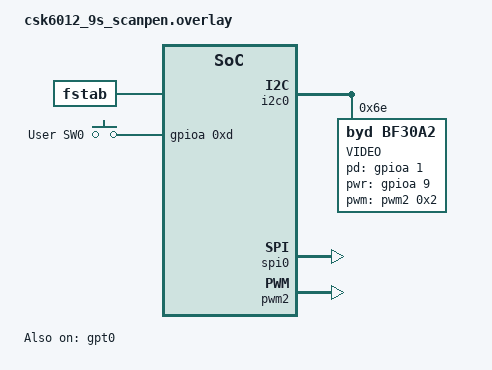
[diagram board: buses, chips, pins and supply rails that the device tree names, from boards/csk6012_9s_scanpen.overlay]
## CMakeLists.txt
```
cmake_minimum_required(VERSION 3.20.0)
# Copyright (c) 2018 Nordic Semiconductor ASA
# Copyright (c) 2019 Linaro Limited
#
# SPDX-License-Identifier: Apache-2.0
#
#set(ZEPHYR_EXTRA_MODULES $ENV{ZEPHYR_BASE}/../modules/lib/sof_host)

if("${BOARD}" STREQUAL "csk6012_9s_scanpen")
  set(BUILD_DSP_FIRMWARE OFF)
  find_package(Zephyr REQUIRED HINTS $ENV{ZEPHYR_BASE})
  message(INFO " ${BOARD} compile as Master in this sample")
  target_sources(app PRIVATE src/main.c)
  add_subdirectory(./src)
  add_subdirectory(lisa_os)
  add_subdirectory(lisa_net)
  add_subdirectory(lisa_hal)
  add_subdirectory(unit_test)
  add_subdirectory(scanpen_sdk)
  add_subdirectory(scanpen_app)
endif()


if(BUILD_DSP_FIRMWARE)

  set(REMOTE_ZEPHYR_DIR ${CMAKE_CURRENT_BINARY_DIR}/sof-dsp-prefix/src/sof-dsp-build/zephyr)

  if("${BOARD}" STREQUAL "csk6002_c3_nano")
    set(BOARD_REMOTE "ls_adsp_csk6")
  else()
    message(FATAL_ERROR "${BOARD} was not supported for this sample")
  endif()

  project(sof-dsp)

  enable_language(C ASM)

  #target_sources(app PRIVATE src/load_fw.c src/mem_image_store.c src/platform_info.c src/zynqmp_csk6001_rproc_example.c )

  include(ExternalProject)

  set(ENV{XCC_USE_CLANG} "1")
  set(ENV{ZEPHYR_TOOLCHAIN_VARIANT} "xcc")

  ExternalProject_Add(
    sof_remote
    SOURCE_DIR ${APPLICATION_SOURCE_DIR}/remote
    INSTALL_COMMAND ""      # This particular build system has no install command
    CMAKE_CACHE_ARGS -DBOARD:STRING=${BOARD_REMOTE}
    BUILD_BYPRODUCTS "${REMOTE_ZEPHYR_DIR}/${KERNEL_BIN_NAME}"
    # NB: Do we need to pass on more CMake variables?
    BUILD_ALWAYS True
  )

  unset(ENV{XCC_USE_CLANG})
  unset(ENV{ZEPHYR_TOOLCHAIN_VARIANT})
  target_include_directories(app PRIVATE ${CMAKE_CURRENT_SOURCE_DIR} ./src) 

endif()
```

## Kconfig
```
# Private config options for load sencond core firmware app

# SPDX-License-Identifier: Apache-2.0

# Workaround for not being able to have commas in macro arguments

DT_CHOSEN_Z_FLASH_SYSFS_STORAGE := zephyr,flash_sysfs_storage
DT_CHOSEN_Z_FLASH_CONTROLLER := zephyr,flash_controller
DT_CHOSEN_Z_INN_FLASH := zephyr,flash
DT_CHOSEN_Z_IPC_SHM := zephyr,ipc_shm

if USB_MASS_STORAGE

	config DISK_FLASH_START
		default "$(dt_chosen_reg_addr_hex,$(DT_CHOSEN_Z_FLASH_SYSFS_STORAGE))"

	config DISK_FLASH_DEV_NAME
		default "$(dt_chosen_label,$(DT_CHOSEN_Z_FLASH_CONTROLLER))"

	config DISK_VOLUME_SIZE
		default "$(dt_chosen_reg_size_hex,$(DT_CHOSEN_Z_FLASH_SYSFS_STORAGE))"


	config DISK_FLASH_MAX_RW_SIZE
		default 4096
		#default $(dt_node_int_prop_hex,$(DT_CHOSEN_Z_INN_FLASH),erase-block-size)

	config DISK_FLASH_ERASE_ALIGNMENT
		default 0x1000
		#default "$(dt_node_int_prop_hex,$(DT_CHOSEN_Z_INN_FLASH),erase-block-size)"

	config DISK_ERASE_BLOCK_SIZE
		default 0x1000
		#default "$(dt_node_int_prop_hex,$(DT_CHOSEN_Z_INN_FLASH),erase-block-size)"
endif


#SOF IPC MEMORY CONFIG
config SOF_IPC_SHM_BASE_ADDRESS
	default "$(dt_chosen_reg_addr_hex,$(DT_CHOSEN_Z_IPC_SHM))"

config SOF_IPC_SHM_SIZE
	default "$(dt_chosen_reg_size_hex,$(DT_CHOSEN_Z_IPC_SHM))"
	help
	  This option specifies size of the memory region to be used
	  for the SOF IPC shared memory

menu "Example Configuration"

    config EXAMPLE_WIFI_SSID
        string "WiFi SSID"
        default "ifly os"

    config EXAMPLE_WIFI_PASSWORD
        string "WiFi password"
        default "ifly951ifly"

endmenu

DT_CHOSEN_Z_LISA_HEAP := zephyr,lisa_heap

config LISA_HEAP_BASE_ADDRESS
	hex
	default "$(dt_chosen_reg_addr_hex,$(DT_CHOSEN_Z_LISA_HEAP))"
	help
	  This option specifies base address of the memory region to
	  be used for the lisa heap memory

config LISA_HEAP_SIZE
	hex
	default "$(dt_chosen_reg_size_hex,$(DT_CHOSEN_Z_LISA_HEAP))"
	help
	  This option specifies size of the memory region to be used
	  for the lisa heap memory

source "Kconfig.zephyr"
```

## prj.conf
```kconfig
CONFIG_PRINTK=y
#CONFIG_DEBUG=y
CONFIG_LOG=y
CONFIG_LOG_MODE_IMMEDIATE=y
CONFIG_LOG_BUFFER_SIZE=1024
# CONFIG_LOG_STRDUP_MAX_STRING=128
# CONFIG_LOG_STRDUP_BUF_COUNT=64
CONFIG_LOG_DETECT_MISSED_STRDUP=n
CONFIG_LOG_BACKEND_SHOW_COLOR=y
CONFIG_LOG_BACKEND_FORMAT_TIMESTAMP=y
CONFIG_LOG_BACKEND_UART=y
CONFIG_LOG_BACKEND_UART_OUTPUT_TEXT=y
CONFIG_GPIO=y
CONFIG_MAIN_STACK_SIZE=4096
CONFIG_HEAP_MEM_POOL_SIZE=70000

#libc配置
CONFIG_NEWLIB_LIBC_FLOAT_PRINTF=y
CONFIG_NEWLIB_LIBC=y
CONFIG_NEWLIB_LIBC_FLOAT_SCANF=y

#psram init 
CONFIG_CSK6_PSRAM=y
CONFIG_TEST_RANDOM_GENERATOR=y

#file system
CONFIG_DISK_DRIVER_FLASH=y
CONFIG_FLASH=y
CONFIG_FLASH_MAP=y
CONFIG_FILE_SYSTEM=y
CONFIG_FS_FATFS_CODEPAGE=936
CONFIG_FS_FATFS_LFN=y
CONFIG_FS_FATFS_MAX_LFN=255
CONFIG_FS_FATFS_LFN_MODE_BSS=y


#usb mass storage
#CONFIG_USB_DEVICE_STACK=y
#CONFIG_USB_DEVICE_PRODUCT="Zephyr DFU sample"
#CONFIG_USB_MASS_STORAGE=y
#CONFIG_MASS_STORAGE_STACK_SIZE=4096
CONFIG_SYSTEM_WORKQUEUE_STACK_SIZE=4096


#CONFIG_USB_DRIVER_LOG_LEVEL_ERR=y
#CONFIG_USB_DEVICE_LOG_LEVEL_ERR=y
#CONFIG_USB_MASS_STORAGE_LOG_LEVEL_ERR=y
#CONFIG_USB_DRIVER_LOG_LEVEL_ERR=y

#usb cdc
#CONFIG_UART_LINE_CTRL=y
#CONFIG_USB_CDC_ACM_RINGBUF_SIZE=4096
#CONFIG_USB_CDC_ACM_LOG_LEVEL_ERR=y


#CONFIG_BOOTLOADER_MCUBOOT=y



#sof
CONFIG_SOF_HOST=y
CONFIG_AVF_DEBUG_LEVEL=3
#CONFIG_AVF_USE_FS_FATFS=y
#CONFIG_FAT_FILESYSTEM_ELM=y
CONFIG_AVF_USE_FS_LITTLEFS=y
CONFIG_FILE_SYSTEM_LITTLEFS=y
CONFIG_POSIX_MAX_FDS=16

#IPM
CONFIG_IPM=y

#shell
CONFIG_SHELL_ARGC_MAX=16
CONFIG_SHELL=y
CONFIG_SHELL_STACK_SIZE=4096

#network-driver
CONFIG_SPI=y
#network-wifi
CONFIG_WIFI=y
CONFIG_CSK_WIFI_STATION=y
CONFIG_NET_L2_ETHERNET=y
CONFIG_NETWORKING=y
CONFIG_NET_DHCPV4=y
CONFIG_NET_IPV4=y
CONFIG_NET_TCP=y
CONFIG_NET_SOCKETS=y
CONFIG_NET_SOCKETS_CONNECT_TIMEOUT=3000
CONFIG_NET_SOCKETS_POSIX_NAMES=y
CONFIG_NET_MGMT=y
CONFIG_NET_MGMT_EVENT=y
CONFIG_NET_MGMT_EVENT_STACK_SIZE=4096
CONFIG_NET_TCP_WORKQ_STACK_SIZE=2048
CONFIG_NET_RX_STACK_SIZE=2048
CONFIG_NET_TX_STACK_SIZE=2048    
CONFIG_NET_PKT_RX_COUNT=16
CONFIG_NET_PKT_TX_COUNT=16
CONFIG_NET_BUF_RX_COUNT=32
CONFIG_NET_BUF_TX_COUNT=32
CONFIG_NET_CONTEXT_NET_PKT_POOL=y

CONFIG_DNS_RESOLVER=y
CONFIG_DNS_SERVER_IP_ADDRESSES=y
CONFIG_DNS_SERVER1="8.8.8.8"

CONFIG_SYSTEM_WORKQUEUE_PRIORITY=-1
CONFIG_INIT_STACKS=y

# Network debug config
# CONFIG_NET_LOG=y

# HTTP & Websocket
CONFIG_HTTP_CLIENT=y
CONFIG_WEBSOCKET_CLIENT=n

# TLS configuration
CONFIG_MBEDTLS=y
CONFIG_MBEDTLS_BUILTIN=y
CONFIG_MBEDTLS_ENABLE_HEAP=y
CONFIG_MBEDTLS_HEAP_SIZE=10240
CONFIG_MBEDTLS_SSL_MAX_CONTENT_LEN=2048

# to enable TLS
CONFIG_NET_SOCKETS_SOCKOPT_TLS=y
CONFIG_NET_SOCKETS_TLS_MAX_CONTEXTS=10

# ListenAI moudle support
# zephyr System abstraction layer for other rtos, like freertos
CONFIG_ZPORT_SAL=y
# sal port to esp
CONFIG_ZPORT_ESP_TCP=y
CONFIG_ZPORT_ESP_HTTP=y
CONFIG_ZPORT_ESP_WS=y
CONFIG_ZPORT_ESP_ADF=y
# esp http & websocket
CONFIG_ZE_TCP_TRANSPORT=y
CONFIG_ZE_TCP_TRANSPORT_ENABLE_SSL=y
CONFIG_ZE_HTTP_CLIENT=y
CONFIG_ZE_HTTP_CLIENT_ENABLE_HTTPS=y
CONFIG_ZE_WEBSOCKET_CLIENT=y
CONFIG_BASE64=y
# esp adf - pipeline
CONFIG_ZE_ADF=y
CONFIG_ZE_ADF_HTTP_STREAM_ENABLE=y
CONFIG_ZE_ADF_FS_STREAM_ENABLE=y
CONFIG_ZE_ADF_MEMORY_STREAM_ENABLE=y
CONFIG_ZE_ADF_AVF_STREAM_ENABLE=y
# lisa player
CONFIG_LISA_PLAYER=y
CONFIG_LISA_PLAYER_AUDIO_STRCASECMP_ENABLE=y

# Custom config for example
#CONFIG_LISA_PLAYER_SHELL_ENABLE=y
#CONFIG_LISA_PLAYER_SHELL_DEFINE_FILE="/NAND:/{{YOUR_FILE_NAME}}.wav"
# setup local http_server in ./temp/ folder:
# Linux: export LISA_ZEP_EXEC=1 && lisa zep exec python -m http.server 8080
# Windows: set LISA_ZEP_EXEC=1 && lisa zep exec python -m http.server 8080
# 打开 http://127.0.0.1:8080
CONFIG_LISA_PLAYER_SHELL_DEFINE_URL="http://{{YOUR_PC_IP}}:8080/fdf7ea5d44626d0319e2fac116019d4af.wav"

# config wifi
CONFIG_EXAMPLE_WIFI_SSID="kawangka"
# CONFIG_EXAMPLE_WIFI_SSID="iflytek-yycs"
CONFIG_EXAMPLE_WIFI_PASSWORD="1q2w3e4r"
# CONFIG_EXAMPLE_WIFI_PASSWORD="iflytekyuyin"

# Enable Testing

# shell: ze_http_client test_start
CONFIG_ZE_HTTP_CLIENT_TEST_SHELL=y

# shell: ze_websocket_client test_start
CONFIG_ZE_WEBSOCKET_CLIENT_TEST_SHELL=y
# websocket server test paltform: http://www.easyswoole.com/wstool.html
CONFIG_ZE_WEBSOCKET_CLIENT_TEST_URI="ws://82.157.123.54:9010/ajaxchattest"


#cache
CONFIG_CACHE_MANAGEMENT=y

# video
CONFIG_I2C=y
CONFIG_DMA=y
CONFIG_PWM=y
CONFIG_VIDEO=y
CONFIG_VIDEO_BF30A2=y

#CONFIG_MINIMAL_LIBC_RAND=y

CONFIG_KERNEL_MEM_POOL=y
CONFIG_STDOUT_CONSOLE=n

CONFIG_SPI_SLAVE=y
CONFIG_SPI_RX_DMA=y

CONFIG_VIDEO_BUFFER_POOL_SZ_MAX=30720
CONFIG_UART_INTERRUPT_DRIVEN=y

#CONFIG_THREAD_ANALYZER=y
#CONFIG_THREAD_ANALYZER_USE_PRINTK=y
#CONFIG_THREAD_ANALYZER_AUTO=y
#CONFIG_THREAD_ANALYZER_AUTO_INTERVAL=5
#CONFIG_THREAD_RUNTIME_STATS=y
#CONFIG_THREAD_NAME=y
```

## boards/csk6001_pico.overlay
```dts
/*
 * Copyright (c) 2021 listenai Intelligent Technology (anhui) Co., Ltd.
 *
 * SPDX-License-Identifier: Apache-2.0
 */
/delete-node/ &storage_partition;

/ {
	chosen {
		/*
		 * shared memory reserved for the inter-processor communication
		 */
		zephyr,ipc_shm = &sramx1;
		zephyr,ipc = &mailbox0;
		zephyr,flash_sysfs_storage = &filesystem_part;
		zephyr,flash_controller = &flash;
	};
	sramx1:memory@30400000{
		compatible = "mmio-sram";
		reg = <0x30400000 0x100000>;
	};
	fstab {
		compatible = "zephyr,fstab";
		lfs1: lfs1 {
			compatible = "zephyr,fstab,littlefs";
			mount-point = "/lfs1";
			partition = <&filesystem_part>;
			automount ;
			no-format;
			read-size = <16>;
			prog-size = <16>;
			cache-size = <64>;
			lookahead-size = <32>;
			block-cycles = <512>;
		};
	};

};

 / {
	chosen {
		/*
		 * shared memory reserved for the inter-processor communication
		 */
		zephyr,lisa_heap = &psram_region1;
	};
	psram_region1:memory@30500000{
		compatible = "mmio-sram";
		reg = <0x30500000 0x300000>;
	};


};
 
&flash0 {
	partitions {
		compatible = "fixed-partitions";
		#address-cells = <1>;
		#size-cells = <1>;
		filesystem_part: partition@160000 {
			label = "filesystem";
			reg = <0x160000 0x00600000>;
		};
		/*
		 * Reserve the final 640 KiB for file system partition
		 */
		storage_partition: partition@760000 {
			label = "storage";
			reg = <0x760000 0x00a0000>;
		};


	};
};
```

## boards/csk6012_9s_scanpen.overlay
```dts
/ {
        aliases {
                sw0 = &user_button_0;
                i2c-0 = &i2c0;
                i2c-1 = &i2c1;
                c-led = &camleds1;
        };
        chosen {
		/*
		 * shared memory reserved for the inter-processor communication
		 */
		zephyr,ipc_shm = &sof_partition;
		zephyr,ipc = &mailbox0;
		#zephyr,uart-mcumgr = &uart0;
                zephyr,flash_sysfs_storage = &filesystem_part;
                zephyr,code-partition = &slot0_partition;
                zephyr,lisa_heap = &psram_region1;
	};

        fstab {
		compatible = "zephyr,fstab";
		lfs1: lfs1 {
			compatible = "zephyr,fstab,littlefs";
			mount-point = "/lfs1";
			partition = <&filesystem_part>;
			automount ;
			no-format;
			read-size = <16>;
			prog-size = <16>;
			cache-size = <64>;
			lookahead-size = <32>;
			block-cycles = <512>;
		};
	};

	gpio_keys {
                user_button_0: button_0 {
                        label = "User SW0";
                        gpios = < &gpioa 0xd 0x0 >;
                };
	};


};

&i2c0 {
        status = "okay";
        pinctrl-0 = <&pinctrl_i2c0_scl_default &pinctrl_i2c0_sda_default>; 
        pinctrl-names = "default";

        bf30a2: bf30a2@6e {
            compatible = "byd,bf30a2";
            status = "okay";
            label = "VIDEO";
            reg = <0x6e>;
            pd-gpios = <&gpioa 1 0>;
            pwr-gpios = <&gpioa 9 0>;
            product-id = <0x3b02>;
            spi = <&spi0>;
            pwms = <&pwm2 0x2 0x0>;
            xclk-freq = <12500>;
            csk6-spec;
        };
};

&spi0 {
    status = "okay";
    spi-max-frequency = <25000000>;
};


&gpt0 {
	status = "okay";

	pwm2: pwm2 {
        clock-prescaler = <1>;
        status = "okay";
        pinctrl-0 = <&pinctrl_pwm2_default>; 
        pinctrl-names = "default";
    };
};

&flash0 {
	partitions {
		compatible = "fixed-partitions";
		#address-cells = <1>;
		#size-cells = <1>;

                /* 256KB for bootloader */
                boot_partition: partition@0 {
                        label = "mcuboot";
                        reg = <0x0 0x40000>;
                        read-only;
                };

                /* application image slot: 1024KB */
                slot0_partition: partition@40000 {
                        label = "image-0";
                        reg = <0x40000 0x100000>;
                };

                /* backup slot: 1024KB */
                slot1_partition: partition@140000 {
                        label = "image-1";
                        reg = <0x140000 0x100000>;
                };

                /* swap slot: 128KB */
                scratch_partition: partition@240000 {
                        label = "image-scratch";
                        reg = <0x240000 0x20000>;
                };

                /* wifi_nvs_storage: 20Kb */
                wifi_nvs_storage: partition@260000 {
                        label = "wifi_nvs_storage";
                        reg = <0x260000 0x5000>;
                };

                /* storage: 6.625MB for storage */
                filesystem_part: partition@265000 {
                        label = "storage";
                        reg = <0x265000 0x59b000>;
                };

	};
};
```

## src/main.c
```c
/*
 *
 * SPDX-License-Identifier: Apache-2.0
 */
#include <zephyr.h>
#include <device.h>
#include <devicetree.h>

#include "lisa_buttons.h"

extern void s_fs_mount(void);
extern void mcumgr_domain();
extern void sof_domain(void);
extern void network_domain(void);

void main(void)
{
	printk("lisa porting test on %s !\n", CONFIG_BOARD);
	s_fs_mount();

#ifdef CONFIG_WIFI
	network_domain();
#endif

	k_msleep(5000);
	sof_domain();

#ifdef CONFIG_MCUMGR
	mcumgr_domain();
#endif

	k_msleep(10000);
	start_scanpen_app();
	while (1) {
		//printk("the main task is running!!\n");
		k_msleep(1000);
	}
}
```

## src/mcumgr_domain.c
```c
#include <zephyr.h>
#include <stats/stats.h>

#ifdef CONFIG_MCUMGR_CMD_OS_MGMT
#include "os_mgmt/os_mgmt.h"
#endif
#ifdef CONFIG_MCUMGR_CMD_IMG_MGMT
#include "img_mgmt/img_mgmt.h"
#endif
#ifdef CONFIG_MCUMGR_CMD_STAT_MGMT
#include "stat_mgmt/stat_mgmt.h"
#endif
#ifdef CONFIG_MCUMGR_CMD_SHELL_MGMT
#include "shell_mgmt/shell_mgmt.h"
#endif
#if defined(CONFIG_MCUMGR_CMD_FS_MGMT) && (defined(CONFIG_AVF_USE_FS_FATFS) || defined(CONFIG_AVF_USE_FS_LITTLEFS))
#include "fs_mgmt/fs_mgmt.h"
#endif


#define LOG_LEVEL LOG_LEVEL_DBG
#include <logging/log.h>
LOG_MODULE_REGISTER(smp_sample);

/* Define an example stats group; approximates seconds since boot. */
STATS_SECT_START(smp_svr_stats)
STATS_SECT_ENTRY(ticks)
STATS_SECT_END;

/* Assign a name to the `ticks` stat. */
STATS_NAME_START(smp_svr_stats)
STATS_NAME(smp_svr_stats, ticks)
STATS_NAME_END(smp_svr_stats);

/* Define an instance of the stats group. */
STATS_SECT_DECL(smp_svr_stats) smp_svr_stats;

void mcumgr_domain_task(void *arg1, void *arg2, void *arg3)
{
	int rc = STATS_INIT_AND_REG(smp_svr_stats, STATS_SIZE_32,
				    "smp_svr_stats");
	if (rc < 0) {
		LOG_ERR("Error initializing stats system [%d]", rc);
	}

	/* Register the built-in mcumgr command handlers. */
#ifdef CONFIG_MCUMGR_CMD_FS_MGMT
	fs_mgmt_register_group();
#endif
#ifdef CONFIG_MCUMGR_CMD_OS_MGMT
	os_mgmt_register_group();
#endif
#ifdef CONFIG_MCUMGR_CMD_IMG_MGMT
	img_mgmt_register_group();
#endif
#ifdef CONFIG_MCUMGR_CMD_STAT_MGMT
	stat_mgmt_register_group();
#endif
#ifdef CONFIG_MCUMGR_CMD_SHELL_MGMT
	shell_mgmt_register_group();
#endif
#ifdef CONFIG_MCUMGR_CMD_FS_MGMT
	fs_mgmt_register_group();
#endif
#ifdef CONFIG_MCUMGR_SMP_BT
	start_smp_bluetooth();
#endif
#ifdef CONFIG_MCUMGR_SMP_UDP
#include "common.h"
	start_smp_udp();
#endif
	/* using __TIME__ ensure that a new binary will be built on every
	 * compile which is convient when testing firmware upgrade.
	 */
	LOG_INF("build time: " __DATE__ " " __TIME__);

	/* The system work queue handles all incoming mcumgr requests.  Let the
	 * main thread idle while the mcumgr server runs.
	 */
	while (1) {
		k_sleep(K_MSEC(1000));
		STATS_INC(smp_svr_stats, ticks);
	}
}

struct k_thread mcumgr_thread;

K_KERNEL_STACK_DEFINE(mcumgr_stack, 512);

void mcumgr_domain(void){
	k_thread_create(&mcumgr_thread, mcumgr_stack,
				K_KERNEL_STACK_SIZEOF(mcumgr_stack), &mcumgr_domain_task, NULL, NULL, NULL,
				1, 0, K_NO_WAIT);
	k_thread_system_pool_assign(&mcumgr_thread);
}
```

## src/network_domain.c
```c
#include <zephyr.h>

#include <stdlib.h>
#include <sys/printk.h>
#include <sys/sys_heap.h>

#include <net/net_if.h>
#include <net/net_core.h>
#include <net/net_context.h>
#include <net/net_mgmt.h>

#include <logging/log.h>
LOG_MODULE_REGISTER(csk_wifi_sta, LOG_LEVEL_DBG);

#include "csk6/csk_wifi.h"

static csk_wifi_event_cb_t wifi_event_cb;
static struct net_mgmt_event_callback dhcp_cb;
static void handler_cb(struct net_mgmt_event_callback *cb, uint32_t mgmt_event, struct net_if *iface)
{
    if (mgmt_event != NET_EVENT_IPV4_DHCP_BOUND) {
        return;
    }

    char buf[NET_IPV4_ADDR_LEN];

    printk("Your address: %s\n", net_addr_ntop(AF_INET, &iface->config.dhcpv4.requested_ip, buf, sizeof(buf)));
    printk("Lease time: %u seconds\n", iface->config.dhcpv4.lease_time);
    printk("Subnet: %s\n", net_addr_ntop(AF_INET, &iface->config.ip.ipv4->netmask, buf, sizeof(buf)));
    printk("Router: %s\n", net_addr_ntop(AF_INET, &iface->config.ip.ipv4->gw, buf, sizeof(buf)));

}


static void wifi_event_handler(csk_wifi_event_t events, void *event_data, uint32_t data_len, void *arg)
{
    if (events & CSK_WIFI_EVT_STA_CONNECTED) {
        printk("[WiFi sta] connected\n");
    } else if (events & CSK_WIFI_EVT_STA_DISCONNECTED) {
        printk("[WiFi sta] disconnected\n");
    } else {
        abort();
    }
}

void network_domain_task(void){
    csk_wifi_init();
    wifi_event_cb.handler = &wifi_event_handler;
    wifi_event_cb.events = CSK_WIFI_EVT_STA_CONNECTED | CSK_WIFI_EVT_STA_DISCONNECTED;
    wifi_event_cb.arg = NULL;
    csk_wifi_add_callback(&wifi_event_cb);

    csk_wifi_sta_config_t sta_config = {
        .ssid = CONFIG_EXAMPLE_WIFI_SSID,
        .pwd = CONFIG_EXAMPLE_WIFI_PASSWORD,
        .encryption_mode = CSK_WIFI_AUTH_WPA2_PSK
    };

    int retry_count = 0;
    csk_wifi_result_t wifi_result;
    do {
        printk("connecting to wifi: %s ...\n", sta_config.ssid);
        int ret = csk_wifi_sta_connect(&sta_config, &wifi_result, K_FOREVER);
        if (ret == 0) {
            break;
        } else {
            if (wifi_result == CSK_WIFI_ERR_STA_FAILED) {
                retry_count++;
                printk("retry to connecting wifi ... %d\n", retry_count);
            } else {
                printk("AP not found or invalid password\n");
                abort();
            }
        }
    } while (retry_count < 10);
    net_mgmt_init_event_callback(&dhcp_cb, handler_cb, NET_EVENT_IPV4_DHCP_BOUND);
    net_mgmt_add_event_callback(&dhcp_cb);
    struct net_if *iface = net_if_get_default();
    if (!iface) {
        printk("wifi interface not available");
        return;
    }
    net_dhcpv4_start(iface);

	while (1) {
	    k_sleep(K_MSEC(1000));
	}
}


struct k_thread network_thread;

K_KERNEL_STACK_DEFINE(network_stack, 1024);

void network_domain(void){
  
	k_thread_create(&network_thread, network_stack,
				K_KERNEL_STACK_SIZEOF(network_stack), &network_domain_task, NULL, NULL, NULL,
				2, 0, K_NO_WAIT);
	k_thread_system_pool_assign(&network_thread);

}
```

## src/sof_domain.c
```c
/*
 * Copyright (c) 2020 Intel Corporation.
 *
 * SPDX-License-Identifier: Apache-2.0
 */

#include <zephyr.h>
#include <lisa_mem.h>
#include <avf_platform.h>

extern void example_vcapture_mem_register(void *pmalloc, void *pcalloc, void *pfree);
void sof_domain(void)
{
	//  example_vcapture_mem_register(lisa_mem_alloc,lisa_mem_calloc,lisa_mem_free);
	avf_stream_platform_register();
}
```
